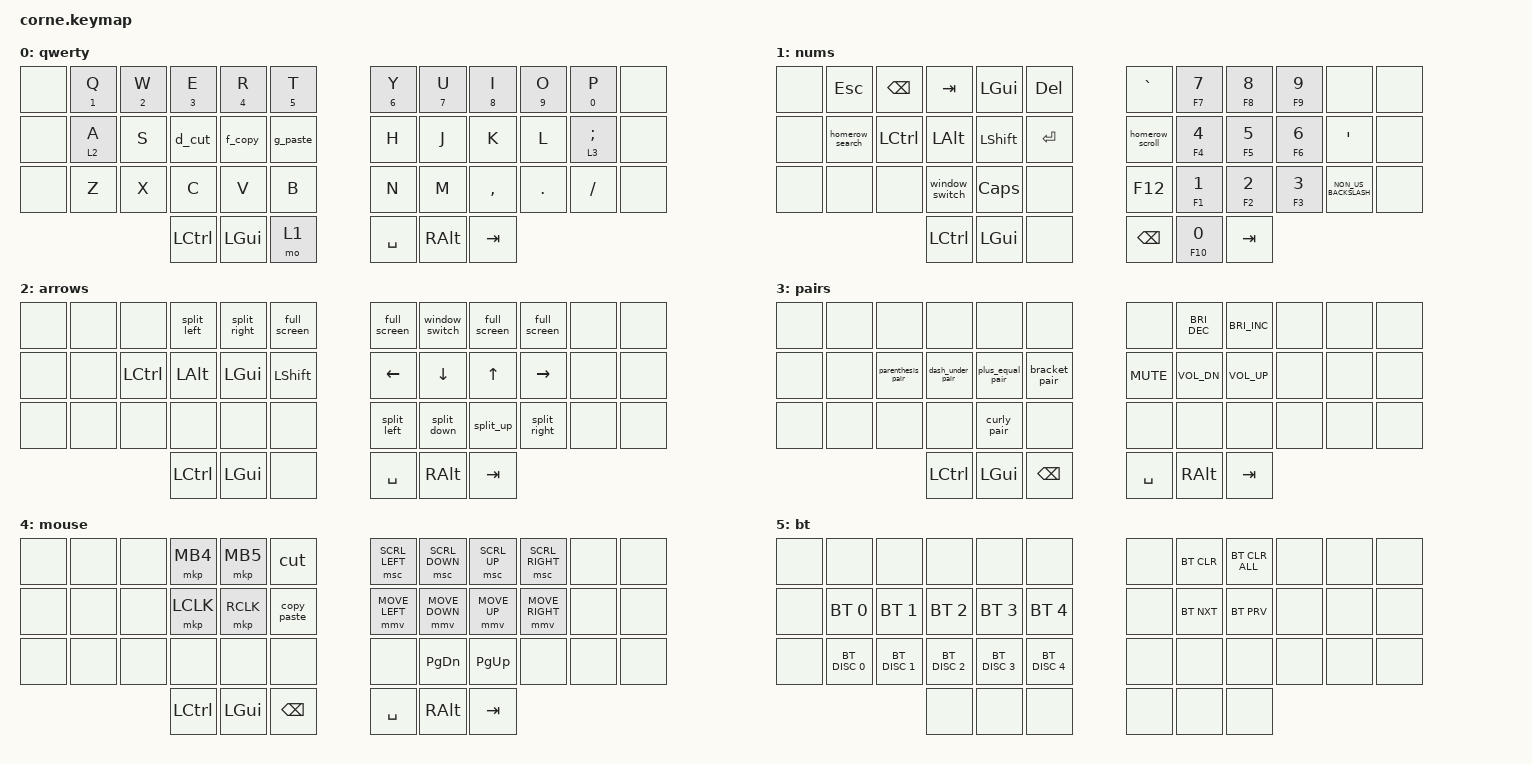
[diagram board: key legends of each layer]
/*
 * Copyright (c) 2020 The ZMK Contributors
 *
 * SPDX-License-Identifier: MIT
 */

#include <behaviors.dtsi>
#include <dt-bindings/zmk/bt.h>
#include <dt-bindings/zmk/keys.h>
#include <dt-bindings/zmk/pointing.h>

/ {
    combos {
        compatible = "zmk,combos";

        right_shift {
            bindings = <&kp RIGHT_SHIFT>;
            key-positions = <39 19>;
        };

        left_shift {
            bindings = <&kp LEFT_SHIFT>;
            key-positions = <38 16>;
        };

        left_enter {
            bindings = <&kp RETURN>;
            key-positions = <38 17>;
        };

        right_enter {
            bindings = <&kp RETURN>;
            key-positions = <39 18>;
        };

        enter_mouse_layer {
            bindings = <&tog 4>;
            key-positions = <13 22>;
        };

        enter_bt_layer {
            bindings = <&tog 5>;
            key-positions = <1 10>;
        };
    };

    macros {
        copy: copy {
            compatible = "zmk,behavior-macro";
            #binding-cells = <0>;
            bindings = <&kp LG(C)>;
            label = "COPY";
        };

        paste: paste {
            compatible = "zmk,behavior-macro";
            #binding-cells = <0>;
            bindings = <&kp LG(V)>;
            label = "PASTE";
        };

        cut: cut {
            compatible = "zmk,behavior-macro";
            #binding-cells = <0>;
            bindings = <&kp LG(X)>;
            label = "CUT";
        };

        window_switch: window_switch {
            compatible = "zmk,behavior-macro";
            #binding-cells = <0>;
            bindings = <&kp LG(GRAVE)>;
            label = "WINDOW_SWITCH";
        };

        full_screen: full_screen {
            compatible = "zmk,behavior-macro";
            #binding-cells = <0>;
            bindings =
                <&macro_press>,
                <&kp LEFT_CONTROL &kp LEFT_GUI>,
                <&macro_tap>,
                <&kp F>,
                <&macro_release>,
                <&kp LEFT_CONTROL &kp LEFT_GUI>;

            label = "FULL_SCREEN";
        };

        split_left: split_left {
            compatible = "zmk,behavior-macro";
            #binding-cells = <0>;
            bindings =
                <&macro_press>,
                <&kp LC(LEFT_GUI)>,
                <&macro_tap>,
                <&kp LEFT>,
                <&macro_release>,
                <&kp LC(LEFT_GUI)>;

            label = "SPLIT_LEFT";
        };

        split_right: split_right {
            compatible = "zmk,behavior-macro";
            #binding-cells = <0>;
            bindings =
                <&macro_press>,
                <&kp LC(LEFT_GUI)>,
                <&macro_tap>,
                <&kp RIGHT>,
                <&macro_release>,
                <&kp LC(LEFT_GUI)>;

            label = "SPLIT_RIGHT";
        };

        split_down: split_down {
            compatible = "zmk,behavior-macro";
            #binding-cells = <0>;
            bindings =
                <&macro_press>,
                <&kp LC(LEFT_GUI)>,
                <&macro_tap>,
                <&kp DOWN>,
                <&macro_release>,
                <&kp LC(LEFT_GUI)>;

            label = "SPLIT_DOWN";
        };

        split_up: split_up {
            compatible = "zmk,behavior-macro";
            #binding-cells = <0>;
            bindings =
                <&macro_press>,
                <&kp LC(LEFT_GUI)>,
                <&macro_tap>,
                <&kp UP_ARROW>,
                <&macro_release>,
                <&kp LC(LEFT_GUI)>;

            label = "SPLIT_UP";
        };

        homerow_search: homerow_search {
            compatible = "zmk,behavior-macro";
            #binding-cells = <0>;
            bindings = <&kp LS(LG(SPACE))>;
            label = "HOMEROW_SEARCH";
        };

        homerow_scroll: homerow_scroll {
            compatible = "zmk,behavior-macro";
            #binding-cells = <0>;
            bindings = <&kp LS(LG(J))>;
            label = "HOMEROW_SCROLL";
        };
    };

    behaviors {
        copy_paste: copy_paste {
            compatible = "zmk,behavior-tap-dance";
            label = "COPY_PASTE";
            #binding-cells = <0>;
            bindings = <&copy>, <&paste>;
        };

        num_f: num_f {
            compatible = "zmk,behavior-hold-tap";
            label = "NUM_F";
            bindings = <&kp>, <&kp>;

            #binding-cells = <2>;
            tapping-term-ms = <200>;
            flavor = "tap-preferred";
        };

        parenthesis_pair: parenthesis_pair {
            compatible = "zmk,behavior-tap-dance";
            label = "PARENTHESIS_PAIR";
            #binding-cells = <0>;
            bindings = <&kp LEFT_PARENTHESIS>, <&kp RIGHT_PARENTHESIS>;
        };

        bracket_pair: bracket_pair {
            compatible = "zmk,behavior-tap-dance";
            label = "BRACKET_PAIR";
            #binding-cells = <0>;
            bindings = <&kp LEFT_BRACKET>, <&kp RIGHT_BRACKET>;
        };

        plus_equal_pair: plus_equal_pair {
            compatible = "zmk,behavior-tap-dance";
            label = "PLUS_EQUAL_PAIR";
            #binding-cells = <0>;
            bindings = <&kp EQUAL>, <&kp PLUS>;
        };

        dash_under_pair: dash_under_pair {
            compatible = "zmk,behavior-tap-dance";
            label = "DASH_UNDER_PAIR";
            #binding-cells = <0>;
            bindings = <&kp MINUS>, <&kp UNDERSCORE>;
        };

        curly_pair: curly_pair {
            compatible = "zmk,behavior-tap-dance";
            label = "CURLY_PAIR";
            #binding-cells = <0>;
            bindings = <&kp LEFT_BRACE>, <&kp RIGHT_BRACE>;
        };

        let_num: let_num {
            compatible = "zmk,behavior-hold-tap";
            label = "LET_NUM";
            bindings = <&kp>, <&kp>;

            #binding-cells = <2>;
            tapping-term-ms = <200>;
            flavor = "tap-preferred";
        };

        d_cut: d_cut {
            compatible = "zmk,behavior-tap-dance";
            label = "D_CUT";
            #binding-cells = <0>;
            bindings = <&kp D>, <&kp LG(X)>;
        };

        f_copy: f_copy {
            compatible = "zmk,behavior-tap-dance";
            label = "F_COPY";
            #binding-cells = <0>;
            bindings = <&kp F>, <&kp LG(C)>;
        };

        g_paste: g_paste {
            compatible = "zmk,behavior-tap-dance";
            label = "G_PASTE";
            #binding-cells = <0>;
            bindings = <&kp G>, <&kp LG(V)>;
        };
    };

    keymap {
        compatible = "zmk,keymap";

        qwerty {
            display-name = "qwerty";
            bindings = <
&none  &let_num NUMBER_1 Q  &let_num NUMBER_2 W  &let_num NUMBER_3 E  &let_num NUMBER_4 R  &let_num N5 T    &let_num NUMBER_6 Y  &let_num N7 U  &let_num N8 I  &let_num N9 O  &let_num N0 P  &none
&none  &lt 2 A              &kp S                &d_cut               &f_copy              &g_paste         &kp H                &kp J          &kp K          &kp L          &lt 3 SEMI     &none
&none  &kp Z                &kp X                &kp C                &kp V                &kp B            &kp N                &kp M          &kp COMMA      &kp DOT        &kp FSLH       &none
                                                 &kp LEFT_CONTROL     &kp LEFT_GUI         &mo 1            &kp SPACE            &kp RIGHT_ALT  &kp TAB
            >;
        };

        nums {
            display-name = "nums";
            bindings = <
&none  &kp ESCAPE       &kp BACKSPACE     &kp TAB           &kp LGUI        &kp DEL      &kp GRAVE        &num_f F7 NUMBER_7   &num_f F8 NUMBER_8  &num_f F9 NUMBER_9  &none                 &none
&none  &homerow_search  &kp LEFT_CONTROL  &kp LEFT_ALT      &kp LEFT_SHIFT  &kp ENTER    &homerow_scroll  &num_f F4 NUMBER_4   &num_f F5 NUMBER_5  &num_f F6 NUMBER_6  &kp SINGLE_QUOTE      &none
&none  &none            &none             &window_switch    &kp CAPSLOCK    &none        &kp F12          &num_f F1 NUMBER_1   &num_f F2 NUMBER_2  &num_f F3 NUMBER_3  &kp NON_US_BACKSLASH  &none
                                          &kp LEFT_CONTROL  &kp LEFT_GUI    &none        &kp BACKSPACE    &num_f F10 NUMBER_0  &kp TAB
            >;
        };

        arrows {
            display-name = "arrows";
            bindings = <
&none  &none  &none             &split_left       &split_right  &full_screen      &full_screen  &window_switch  &full_screen  &full_screen  &none  &none
&none  &none  &kp LEFT_CONTROL  &kp LEFT_ALT      &kp LEFT_GUI  &kp LEFT_SHIFT    &kp LEFT      &kp DOWN        &kp UP_ARROW  &kp RIGHT     &none  &none
&none  &none  &none             &none             &none         &none             &split_left   &split_down     &split_up     &split_right  &none  &none
                                &kp LEFT_CONTROL  &kp LEFT_GUI  &none             &kp SPACE     &kp RIGHT_ALT   &kp TAB
            >;
        };

        pairs {
            bindings = <
&none  &none  &none              &none             &none             &none            &none       &kp C_BRIGHTNESS_DEC  &kp C_BRIGHTNESS_INC  &none  &none  &none
&none  &none  &parenthesis_pair  &dash_under_pair  &plus_equal_pair  &bracket_pair    &kp K_MUTE  &kp C_VOL_DN          &kp C_VOLUME_UP       &none  &none  &none
&none  &none  &none              &none             &curly_pair       &none            &none       &none                 &none                 &none  &none  &none
                                 &kp LEFT_CONTROL  &kp LEFT_GUI      &kp BACKSPACE    &kp SPACE   &kp RIGHT_ALT         &kp TAB
            >;

            label = "pairs";
        };

        mouse {
            bindings = <
&none  &none  &none  &mkp MB4          &mkp MB5      &cut             &msc SCRL_LEFT  &msc SCRL_DOWN  &msc SCRL_UP  &msc SCRL_RIGHT  &none  &none
&none  &none  &none  &mkp LCLK         &mkp RCLK     &copy_paste      &mmv MOVE_LEFT  &mmv MOVE_DOWN  &mmv MOVE_UP  &mmv MOVE_RIGHT  &none  &none
&none  &none  &none  &none             &none         &none            &none           &kp PAGE_DOWN   &kp PG_UP     &none            &none  &none
                     &kp LEFT_CONTROL  &kp LEFT_GUI  &kp BACKSPACE    &kp SPACE       &kp RIGHT_ALT   &kp TAB
            >;

            label = "mouse";
        };

        bt {
            bindings = <
&none  &none          &none          &none          &none          &none            &none  &bt BT_CLR  &bt BT_CLR_ALL  &none  &none  &none
&none  &bt BT_SEL 0   &bt BT_SEL 1   &bt BT_SEL 2   &bt BT_SEL 3   &bt BT_SEL 4     &none  &bt BT_NXT  &bt BT_PRV      &none  &none  &none
&none  &bt BT_DISC 0  &bt BT_DISC 1  &bt BT_DISC 2  &bt BT_DISC 3  &bt BT_DISC 4    &none  &none       &none           &none  &none  &none
                                     &none          &none          &none            &none  &none       &none
            >;

            label = "bt";
        };
    };
};
